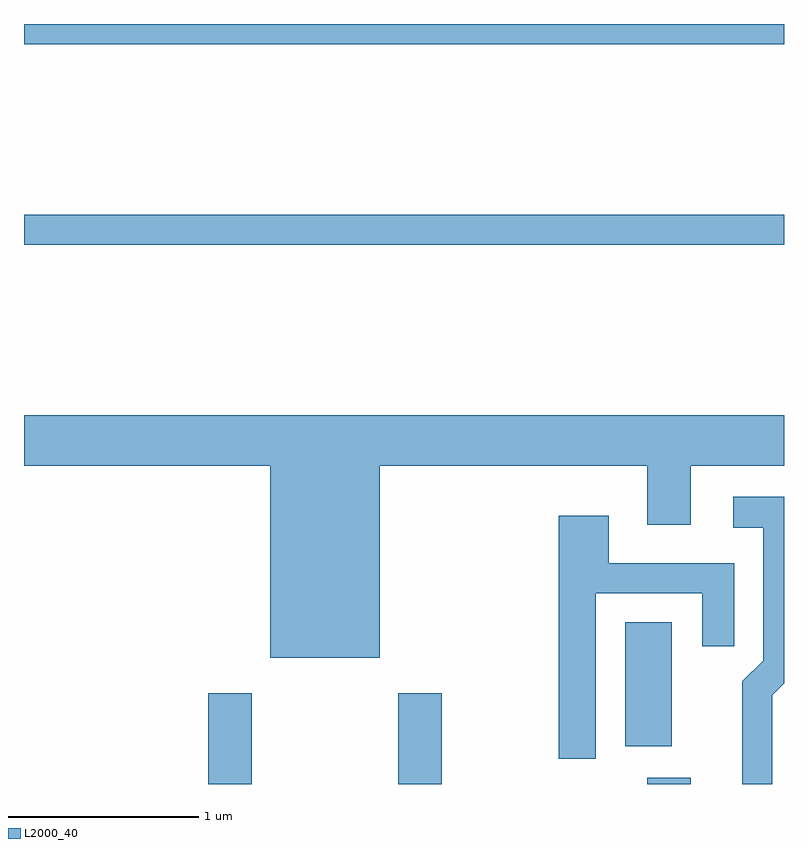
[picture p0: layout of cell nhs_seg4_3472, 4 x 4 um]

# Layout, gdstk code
import gdstk
lib = gdstk.Library(unit=1e-6, precision=1e-09)
def R(c, l, rs):  # rectangles x0, y0, x1, y1
    for r in rs: c.add(gdstk.rectangle(r[:2], r[2:], *l))
def P(c, l, *ps):  # polygons
    for p in ps: c.add(gdstk.Polygon(p, *l))
L2000_40 = (2000, 40)

nhs_seg4_3472 = lib.new_cell('nhs_seg4_3472')
R(nhs_seg4_3472, L2000_40, [(288.581,1261.982,288.809,1262.459), (289.581,1261.982,289.809,1262.459), (290.891,1261.982,291.119,1262.014), (290.776,1262.181,291.019,1262.834), (287.611,1264.821,291.611,1264.979), (287.611,1265.876,291.611,1265.982)])
P(nhs_seg4_3472, L2000_40, [(289.484,1263.656),(290.891,1263.656),(290.891,1263.346),(291.119,1263.346),(291.119,1263.656),(291.611,1263.656),(291.611,1263.924),(287.611,1263.924),(287.611,1263.656),(288.906,1263.656),(288.906,1262.646),(289.484,1262.646)],
  [(291.549,1262.449),(291.611,1262.511),(291.611,1263.494),(291.343,1263.494),(291.343,1263.331),(291.501,1263.331),(291.501,1262.632),(291.391,1262.522),(291.391,1261.982),(291.549,1261.982)],
  [(290.619,1262.986),(291.181,1262.986),(291.181,1262.708),(291.349,1262.708),(291.349,1263.144),(290.689,1263.144),(290.689,1263.394),(290.426,1263.394),(290.426,1262.116),(290.619,1262.116)])

lib.write_gds('nhs_seg4_3472.gds')
